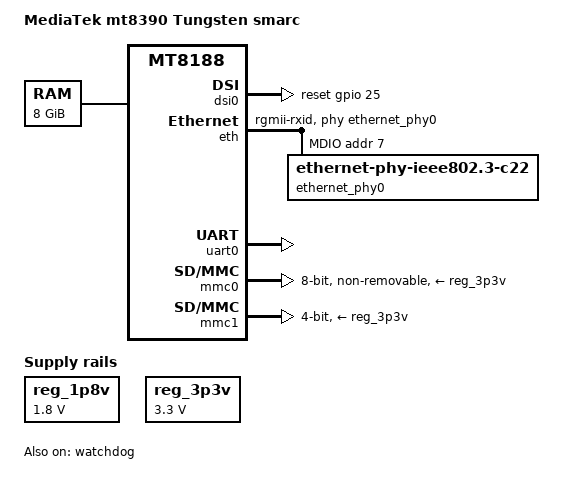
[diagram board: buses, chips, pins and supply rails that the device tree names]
// SPDX-License-Identifier: GPL-2.0 OR MIT
/*
 * Copyright (C) 2022 MediaTek Inc.
 * Author: Chris-QJ Chen <chris-qj.chen@mediatek.com>
 */

/dts-v1/;

#include <config.h>
#include "mt8188.dtsi"
#include "mt6359.dtsi"

&pio {
	eth_default_pins: eth-default-pins {
		pins-txd {
			pinmux = <PINMUX_GPIO131__FUNC_O_GBE_TXD3>,
				 <PINMUX_GPIO132__FUNC_O_GBE_TXD2>,
				 <PINMUX_GPIO133__FUNC_O_GBE_TXD1>,
				 <PINMUX_GPIO134__FUNC_O_GBE_TXD0>;
			drive-strength = <MTK_DRIVE_8mA>;
		};
		pins-cc {
			pinmux = <PINMUX_GPIO139__FUNC_B0_GBE_TXC>,
				 <PINMUX_GPIO142__FUNC_O_GBE_TXEN>,
				 <PINMUX_GPIO141__FUNC_I0_GBE_RXDV>,
				 <PINMUX_GPIO140__FUNC_I0_GBE_RXC>;
			drive-strength = <MTK_DRIVE_8mA>;
		};
		pins-rxd {
			pinmux = <PINMUX_GPIO135__FUNC_I0_GBE_RXD3>,
				 <PINMUX_GPIO136__FUNC_I0_GBE_RXD2>,
				 <PINMUX_GPIO137__FUNC_I0_GBE_RXD1>,
				 <PINMUX_GPIO138__FUNC_I0_GBE_RXD0>;
			drive-strength = <MTK_DRIVE_8mA>;
		};
		pins-mdio {
			pinmux = <PINMUX_GPIO143__FUNC_O_GBE_MDC>,
				 <PINMUX_GPIO144__FUNC_B1_GBE_MDIO>;
			drive-strength = <MTK_DRIVE_8mA>;
			input-enable;
		};
		pins-power {
#define GP_EQOS_RESET	<&gpio 27 GPIO_ACTIVE_LOW>
			pinmux = <PINMUX_GPIO27__FUNC_B_GPIO27>;
			output-high;
		};
		pins-intr {
#define GPIRQ_EQOS_PHY	<&pio 148 IRQ_TYPE_LEVEL_LOW>
			pinmux = <PINMUX_GPIO148__FUNC_B_GPIO148>;
			input-enable;
		};
	};

	eth_sleep_pins: eth-sleep-pins {
		pins-txd {
			pinmux = <PINMUX_GPIO131__FUNC_B_GPIO131>,
				 <PINMUX_GPIO132__FUNC_B_GPIO132>,
				 <PINMUX_GPIO133__FUNC_B_GPIO133>,
				 <PINMUX_GPIO134__FUNC_B_GPIO134>;
		};
		pins-cc {
			pinmux = <PINMUX_GPIO139__FUNC_B_GPIO139>,
				 <PINMUX_GPIO142__FUNC_B_GPIO142>,
				 <PINMUX_GPIO141__FUNC_B_GPIO141>,
				 <PINMUX_GPIO140__FUNC_B_GPIO140>;
		};
		pins-rxd {
			pinmux = <PINMUX_GPIO135__FUNC_B_GPIO135>,
				 <PINMUX_GPIO136__FUNC_B_GPIO136>,
				 <PINMUX_GPIO137__FUNC_B_GPIO137>,
				 <PINMUX_GPIO138__FUNC_B_GPIO138>;
		};
		pins-mdio {
			pinmux = <PINMUX_GPIO143__FUNC_B_GPIO143>,
				 <PINMUX_GPIO144__FUNC_B_GPIO144>;
			input-disable;
			bias-disable;
		};
	};

	eth_gpio_rx_pins: eth-gpio-rx-pins {
		pins-rx-low {
			pinmux =
#define GP_PHY_RX_CTL		<&gpio 141 GPIO_ACTIVE_HIGH>
				<PINMUX_GPIO141__FUNC_B_GPIO141>;
			output-low;
		};
		pins-rx-high {
			pinmux =
#define GP_PHY_RD0		<&gpio 135 GPIO_ACTIVE_HIGH>
				<PINMUX_GPIO135__FUNC_B_GPIO135>,
#define GP_PHY_RD1		<&gpio 136 GPIO_ACTIVE_HIGH>
				<PINMUX_GPIO136__FUNC_B_GPIO136>,
#define GP_PHY_RD2		<&gpio 137 GPIO_ACTIVE_HIGH>
				<PINMUX_GPIO137__FUNC_B_GPIO137>,
#define GP_PHY_RD3		<&gpio 138 GPIO_ACTIVE_HIGH>
				<PINMUX_GPIO138__FUNC_B_GPIO138>,
#define GP_PHY_RXC		<&gpio 140 GPIO_ACTIVE_HIGH>
				<PINMUX_GPIO140__FUNC_B_GPIO140>;
			output-high;
		};
	};

	mmc1_pins_default: mmc1default {
		pins-cmd-dat {
			pinmux = <PINMUX_GPIO163__FUNC_B1_MSDC1_CMD>,
				 <PINMUX_GPIO165__FUNC_B1_MSDC1_DAT0>,
				 <PINMUX_GPIO166__FUNC_B1_MSDC1_DAT1>,
				 <PINMUX_GPIO167__FUNC_B1_MSDC1_DAT2>,
				 <PINMUX_GPIO168__FUNC_B1_MSDC1_DAT3>;
			input-enable;
			drive-strength = <MTK_DRIVE_6mA>;
			bias-pull-up = <MTK_PUPD_SET_R1R0_01>;
		};

		pins-clk {
			pinmux = <PINMUX_GPIO164__FUNC_B1_MSDC1_CLK>;
			drive-strength = <MTK_DRIVE_6mA>;
			bias-pull-down = <MTK_PUPD_SET_R1R0_10>;
		};

		pins-insert {
#define GP_MMC1_CD	<&gpio 2 GPIO_ACTIVE_LOW>
			pinmux = <PINMUX_GPIO2__FUNC_B_GPIO2>;
			bias-pull-up;
		};
	};

	panel_pins_default: panel-pins-default {
		panel-dcdc {
			pinmux = <PINMUX_GPIO45__FUNC_B_GPIO45>;
			output-low;
		};

		panel-en {
			pinmux = <PINMUX_GPIO111__FUNC_B_GPIO111>;
			output-low;
		};

		panel-rst {
			pinmux = <PINMUX_GPIO25__FUNC_B_GPIO25>;
			output-high;
		};

		pins-bl {
			pinmux = <PINMUX_GPIO29__FUNC_O_DISP_PWM0>;
		};
	};
};

/ {
	model = "MediaTek mt8390 Tungsten smarc";
	compatible = "mediatek,mt8390-tungsten-smarc", "mediatek,mt8188";

	aliases {
		serial0 = &uart0;
		ethernet0 = &eth;
	};

	memory@40000000 {
		/* 8GB */
		device_type = "memory";
		reg = <0 0x40000000 2 0x00000000>;
	};

	firmware: firmware {
		optee {
			compatible = "linaro,optee-tz";
			method = "smc";
		};

		psci: psci {
			compatible = "arm,psci-1.0";
			method = "smc";
		};
	};

	reserved-memory {
		#address-cells = <2>;
		#size-cells = <2>;
		ranges;

		/* 2 MiB reserved for ARM Trusted Firmware (BL31) */
		bl31_secmon_reserved: secmon@54600000 {
			no-map;
			reg = <0 0x54600000 0x0 0x200000>;
		};

		/* 12 MiB reserved for OP-TEE (BL32)
		 * +-----------------------+ 0x43e0_0000
		 * |      SHMEM 2MiB       |
		 * +-----------------------+ 0x43c0_0000
		 * |        | TA_RAM  8MiB |
		 * + TZDRAM +--------------+ 0x4340_0000
		 * |        | TEE_RAM 2MiB |
		 * +-----------------------+ 0x4320_0000
		 */
		optee_reserved: optee@43200000 {
			no-map;
			reg = <0 0x43200000 0 0x00c00000>;
		};

		dsi_reserved: dsi@60000000 {
			reg = <0 0x60000000 0 0x02000000>;
			no-map;
		};
	};

	chosen {
		stdout-path = &uart0;
	};

	reg_1p8v: regulator-1p8v {
		compatible = "regulator-fixed";
		regulator-name = "fixed-1.8V";
		regulator-min-microvolt = <1800000>;
		regulator-max-microvolt = <1800000>;
		regulator-boot-on;
		regulator-always-on;
	};

	reg_3p3v: regulator-3p3v {
		compatible = "regulator-fixed";
		regulator-name = "fixed-3.3V";
		regulator-min-microvolt = <3300000>;
		regulator-max-microvolt = <3300000>;
		regulator-boot-on;
		regulator-always-on;
	};

	dsi0: dsi0{
		compatible = "mediatek,mt8188-dsi";
		reg = <0 0x60000000 0 0x02000000>;
		pinctrl-names = "default";
		pinctrl-0 = <&panel_pins_default>;
		reset-gpios = <&gpio 25 GPIO_ACTIVE_HIGH>;
		dcdc-gpios = <&gpio 45 GPIO_ACTIVE_HIGH>;
		enable-gpios = <&gpio 111 GPIO_ACTIVE_HIGH>;
		status = "okay";
	};
};

&eth {
	avddh-supply = <&mt6359_vpa_buck_reg>;
	mediatek,mac-wol;
	phy-mode ="rgmii-rxid";
	phy-handle = <&ethernet_phy0>;
	pinctrl-names = "default", "sleep", "gpio-rx";
	pinctrl-0 = <&eth_default_pins>;
	pinctrl-1 = <&eth_sleep_pins>;
	pinctrl-2 = <&eth_gpio_rx_pins>;
	status = "okay";

	mdio {
		compatible = "snps,dwmac-mdio";
		#address-cells = <1>;
		#size-cells = <0>;

		ethernet_phy0: ethernet-phy@7 {
			compatible = "ethernet-phy-ieee802.3-c22";
			eee-broken-1000t;
			interrupts-extended = GPIRQ_EQOS_PHY;
			reg = <0x7>;
#ifdef GP_EQOS_RESET
			reset-gpios = GP_EQOS_RESET;
#endif
		};
	};
};

&watchdog {
	status = "okay";
};

&uart0 {
	status = "okay";
};

&mmc0 {
	bus-width = <8>;
	cap-mmc-highspeed;
	cap-mmc-hw-reset;
	hs400-ds-delay = <0x1481b>;
	max-frequency = <200000000>;
	mmc-hs200-1_8v;
	mmc-hs400-1_8v;
	non-removable;
	no-sdio;
	no-sd;
	status = "okay";
	vmmc-supply = <&reg_3p3v>;
	vqmmc-supply = <&reg_1p8v>;
};

&mmc1 {
	bus-width = <4>;
	cap-sd-highspeed;
	cd-gpios = GP_MMC1_CD;
	max-frequency = <200000000>;
	no-mmc;
	no-sdio;
	pinctrl-names = "default";
	pinctrl-0 = <&mmc1_pins_default>;
	status = "okay";
	vmmc-supply = <&reg_3p3v>;
	vqmmc-supply = <&mt6359_vsim1_ldo_reg>;
};
